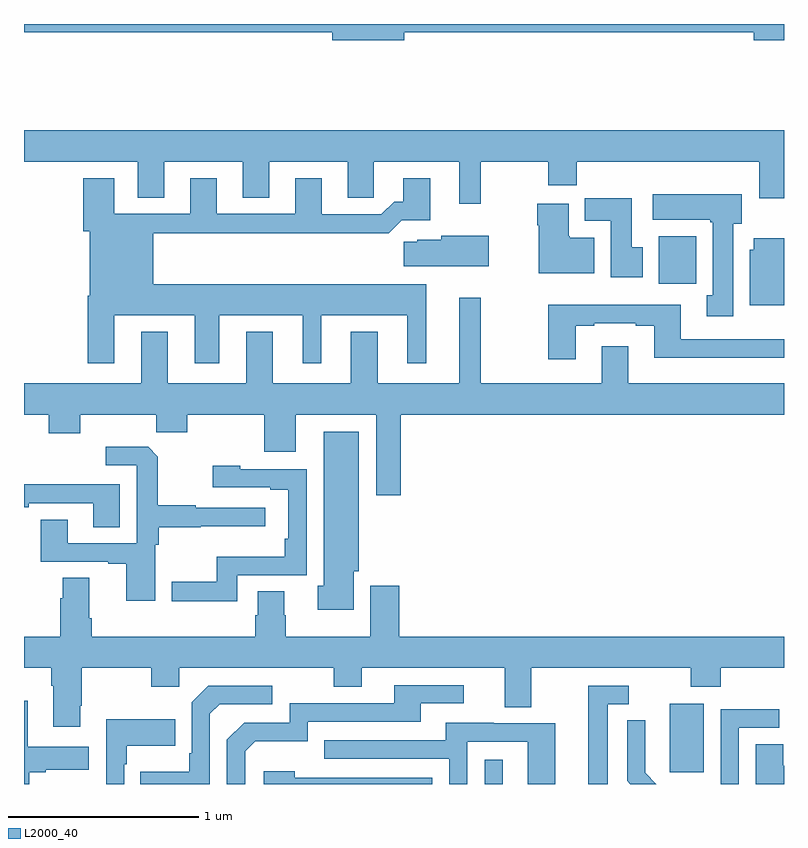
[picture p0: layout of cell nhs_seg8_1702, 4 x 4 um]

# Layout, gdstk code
import gdstk
lib = gdstk.Library(unit=1e-6, precision=1e-09)
def R(c, l, rs):  # rectangles x0, y0, x1, y1
    for r in rs: c.add(gdstk.rectangle(r[:2], r[2:], *l))
def P(c, l, *ps):  # polygons
    for p in ps: c.add(gdstk.Polygon(p, *l))
L2000_40 = (2000, 40)

nhs_seg8_1702 = lib.new_cell('nhs_seg8_1702')
R(nhs_seg8_1702, L2000_40, [(221.424,1103.9,221.521,1104.028), (222.398,1103.961,222.577,1104.322), (222.341,1106.532,222.537,1106.782)])
P(nhs_seg8_1702, L2000_40, [(221.002,1107.856),(222.842,1107.856),(222.842,1107.814),(223,1107.814),(223,1107.9),(219,1107.9),(219,1107.856),(220.622,1107.856),(220.622,1107.814),(221.002,1107.814)],
  [(221.405,1107.176),(221.758,1107.176),(221.758,1107.052),(221.909,1107.052),(221.909,1107.176),(222.869,1107.176),(222.869,1106.982),(223,1106.982),(223,1107.34),(219,1107.34),(219,1107.176),(219.599,1107.176),(219.599,1106.986),(219.739,1106.986),(219.739,1107.176),(220.151,1107.176),(220.151,1106.986),(220.291,1106.986),(220.291,1107.176),(220.703,1107.176),(220.703,1106.986),(220.842,1106.986),(220.842,1107.176),(221.291,1107.176),(221.291,1106.955),(221.405,1106.955)],
  [(219.475,1106.366),(219.899,1106.366),(219.899,1106.115),(220.027,1106.115),(220.027,1106.366),(220.466,1106.366),(220.466,1106.115),(220.564,1106.115),(220.564,1106.366),(221.018,1106.366),(221.018,1106.115),(221.116,1106.115),(221.116,1106.53),(219.679,1106.53),(219.679,1106.8),(220.663,1106.8),(220.663,1106.798),(220.919,1106.798),(220.989,1106.868),(221.137,1106.868),(221.137,1107.088),(220.997,1107.088),(220.997,1106.965),(220.948,1106.965),(220.881,1106.898),(220.567,1106.898),(220.567,1107.088),(220.427,1107.088),(220.427,1106.901),(220.015,1106.901),(220.015,1107.088),(219.875,1107.088),(219.875,1106.901),(219.475,1106.901),(219.475,1107.088),(219.311,1107.088),(219.311,1106.808),(219.347,1106.808),(219.347,1106.47),(219.335,1106.47),(219.335,1106.115),(219.475,1106.115)],
  [(222.733,1106.85),(222.778,1106.85),(222.778,1107.004),(222.309,1107.004),(222.309,1106.87),(222.613,1106.87),(222.613,1106.857),(222.626,1106.857),(222.626,1106.473),(222.593,1106.473),(222.593,1106.361),(222.733,1106.361)],
  [(222.256,1106.724),(222.199,1106.724),(222.199,1106.982),(221.951,1106.982),(221.951,1106.864),(222.089,1106.864),(222.089,1106.568),(222.256,1106.568)],
  [(222.001,1106.776),(221.872,1106.776),(221.872,1106.782),(221.866,1106.782),(221.866,1106.953),(221.701,1106.953),(221.701,1106.84),(221.708,1106.84),(221.708,1106.588),(222.001,1106.588)],
  [(221.446,1106.785),(221.196,1106.785),(221.196,1106.764),(221.07,1106.764),(221.07,1106.753),(220.998,1106.753),(220.998,1106.624),(221.446,1106.624)],
  [(223,1106.773),(222.842,1106.773),(222.842,1106.712),(222.821,1106.712),(222.821,1106.42),(223,1106.42)],
  [(220.982,1105.844),(223,1105.844),(223,1106.008),(222.181,1106.008),(222.181,1106.203),(222.041,1106.203),(222.041,1106.008),(221.405,1106.008),(221.405,1106.458),(221.291,1106.458),(221.291,1106.008),(220.861,1106.008),(220.861,1106.281),(220.721,1106.281),(220.721,1106.008),(220.309,1106.008),(220.309,1106.281),(220.169,1106.281),(220.169,1106.008),(219.757,1106.008),(219.757,1106.281),(219.617,1106.281),(219.617,1106.008),(219,1106.008),(219,1105.844),(219.131,1105.844),(219.131,1105.745),(219.295,1105.745),(219.295,1105.844),(219.695,1105.844),(219.695,1105.751),(219.859,1105.751),(219.859,1105.844),(220.265,1105.844),(220.265,1105.65),(220.429,1105.65),(220.429,1105.844),(220.853,1105.844),(220.853,1105.419),(220.982,1105.419)],
  [(221.905,1106.313),(222.001,1106.313),(222.001,1106.325),(222.221,1106.325),(222.221,1106.313),(222.317,1106.313),(222.317,1106.144),(223,1106.144),(223,1106.241),(222.457,1106.241),(222.457,1106.422),(221.758,1106.422),(221.758,1106.136),(221.905,1106.136)],
  [(220.735,1105.02),(220.762,1105.02),(220.762,1105.753),(220.577,1105.753),(220.577,1104.944),(220.547,1104.944),(220.547,1104.818),(220.735,1104.818)],
  [(219.69,1105.16),(219.71,1105.16),(219.71,1105.252),(219.929,1105.252),(219.929,1105.256),(220.27,1105.256),(220.27,1105.353),(219.905,1105.353),(219.905,1105.366),(219.705,1105.366),(219.705,1105.623),(219.653,1105.675),(219.429,1105.675),(219.429,1105.578),(219.594,1105.578),(219.594,1105.167),(219.229,1105.167),(219.229,1105.292),(219.089,1105.292),(219.089,1105.071),(219.443,1105.071),(219.443,1105.059),(219.539,1105.059),(219.539,1104.864),(219.69,1104.864)],
  [(220.122,1104.999),(220.488,1104.999),(220.488,1105.557),(220.137,1105.557),(220.137,1105.576),(219.993,1105.576),(219.993,1105.461),(220.295,1105.461),(220.295,1105.449),(220.392,1105.449),(220.392,1105.192),(220.372,1105.192),(220.372,1105.096),(220.014,1105.096),(220.014,1104.965),(219.777,1104.965),(219.777,1104.863),(220.122,1104.863)],
  [(219.505,1105.478),(219,1105.478),(219,1105.357),(219.025,1105.357),(219.025,1105.377),(219.365,1105.377),(219.365,1105.252),(219.505,1105.252)],
  [(219.295,1104.313),(219.303,1104.313),(219.303,1104.512),(219.67,1104.512),(219.67,1104.413),(219.816,1104.413),(219.816,1104.512),(220.63,1104.512),(220.63,1104.413),(220.777,1104.413),(220.777,1104.512),(221.531,1104.512),(221.531,1104.304),(221.671,1104.304),(221.671,1104.512),(222.508,1104.512),(222.508,1104.413),(222.668,1104.413),(222.668,1104.512),(223,1104.512),(223,1104.676),(220.976,1104.676),(220.976,1104.943),(220.823,1104.943),(220.823,1104.676),(220.377,1104.676),(220.377,1104.789),(220.369,1104.789),(220.369,1104.914),(220.229,1104.914),(220.229,1104.789),(220.217,1104.789),(220.217,1104.676),(219.356,1104.676),(219.356,1104.772),(219.343,1104.772),(219.343,1104.986),(219.203,1104.986),(219.203,1104.878),(219.191,1104.878),(219.191,1104.676),(219,1104.676),(219,1104.512),(219.143,1104.512),(219.143,1104.416),(219.155,1104.416),(219.155,1104.201),(219.295,1104.201)],
  [(220.164,1104.072),(220.217,1104.125),(220.494,1104.125),(220.494,1104.228),(221.089,1104.228),(221.089,1104.324),(221.314,1104.324),(221.314,1104.42),(220.949,1104.42),(220.949,1104.324),(220.398,1104.324),(220.398,1104.222),(220.158,1104.222),(220.068,1104.132),(220.068,1103.9),(220.164,1103.9)],
  [(219.978,1104.27),(220.029,1104.321),(220.306,1104.321),(220.306,1104.417),(219.969,1104.417),(219.882,1104.33),(219.882,1104.061),(219.87,1104.061),(219.87,1103.965),(219.613,1103.965),(219.613,1103.9),(219.978,1103.9)],
  [(222.073,1104.321),(222.184,1104.321),(222.184,1104.417),(221.969,1104.417),(221.969,1103.9),(222.073,1103.9)],
  [(219.027,1103.963),(219.115,1103.963),(219.115,1103.975),(219.34,1103.975),(219.34,1104.097),(219.019,1104.097),(219.019,1104.337),(219,1104.337),(219,1103.9),(219.027,1103.9)],
  [(222.762,1104.195),(222.976,1104.195),(222.976,1104.294),(222.666,1104.294),(222.666,1103.9),(222.762,1103.9)],
  [(219.528,1104.005),(219.541,1104.005),(219.541,1104.101),(219.797,1104.101),(219.797,1104.241),(219.432,1104.241),(219.432,1103.9),(219.528,1103.9)],
  [(222.269,1103.96),(222.269,1104.082),(222.27,1104.082),(222.27,1104.236),(222.174,1104.236),(222.174,1103.918),(222.192,1103.9),(222.328,1103.9)],
  [(221.334,1104.123),(221.652,1104.123),(221.652,1103.9),(221.797,1103.9),(221.797,1104.219),(221.473,1104.219),(221.473,1104.223),(221.219,1104.223),(221.219,1104.129),(220.579,1104.129),(220.579,1104.033),(221.238,1104.033),(221.238,1103.9),(221.334,1103.9)],
  [(223,1103.996),(222.995,1103.996),(222.995,1104.11),(222.851,1104.11),(222.851,1103.9),(223,1103.9)],
  [(221.148,1103.934),(220.424,1103.934),(220.424,1103.968),(220.263,1103.968),(220.263,1103.9),(221.148,1103.9)])

lib.write_gds('nhs_seg8_1702.gds')
